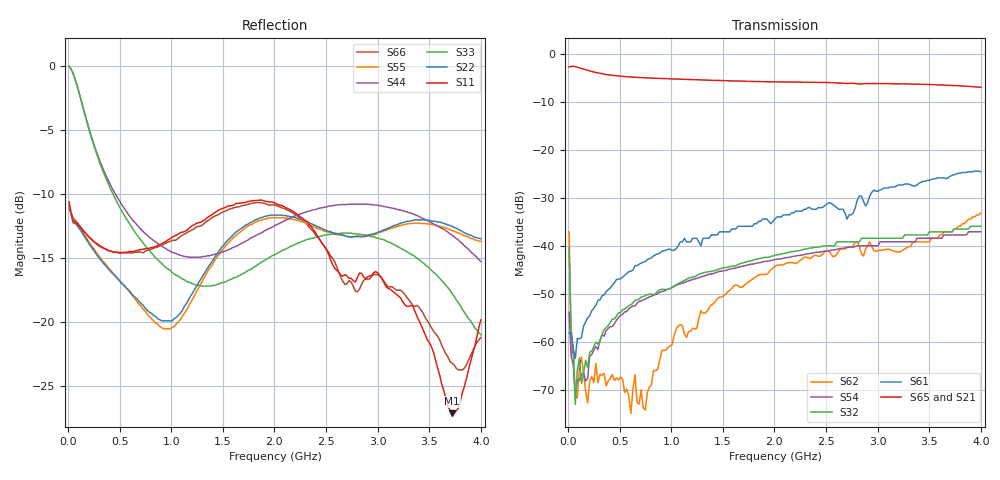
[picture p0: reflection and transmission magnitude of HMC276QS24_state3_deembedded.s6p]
! Hittite Microwave Corporation
! 20 Alpha Road
! Chelmsford, MA 01824
! Tel: 978-250-3343
! Fax: 978-250-3373
! Device: HMC276QS24, 0.7-3.0 GHz, GaAS MMIC 4x2 Switch Matrix in 24-lead QSOP package
! Misc: Data was de-embedded to package pins.
!  Port 1 = OP1
!  Port 2 = VL
!  Port 3 = VH
!  Port 4 = HH
!  Port 5 = HL
!  Port 6 = OP2
!  Vdd = +5 V
!  Vctl = 0 V[Logic 0] / +5 V[Logic 1]
!  State 03,  VL to OP1,  HL to OP2
!  Control Lines (Logic)
!  HV 1 = 0, Tone 1 = 0
!  HV 2 = 1, Tone 2 = 0
!  Data reformated to new Touchstone file format - Wed Jan 10 14:24:32 2007
# MHz S DB R 50
! 6 Port Network Data
! freq  dbS11  angS11  dbS12  angS12  dbS13  angS13  dbS14  angS14
!  dbS15  angS15  dbS16  angS16
!  dbS21  angS21  dbS22  angS22
!  dbS23  angS23  dbS24  angS24  dbS25  angS25  dbS26  angS26
!  dbS31  angS31  dbS32  angS32  dbS33  angS33  dbS34  angS34
!  dbS35  angS35  dbS36  angS36
!  dbS41  angS41  dbS42  angS42
!  dbS43  angS43  dbS44  angS44  dbS45  angS45  dbS46  angS46
!  dbS51  angS51  dbS52  angS52  dbS53  angS53  dbS54  angS54
!  dbS55  angS55  dbS56  angS56
!  dbS61  angS61  dbS62  angS62
!  dbS63  angS63  dbS64  angS64  dbS65  angS65  dbS66  angS66
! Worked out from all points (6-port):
!   201 points, 10 MHz to 4 GHz, reference 50 ohm
!   strongest paths, dB at 10 MHz, 1.008 GHz, 2.005 GHz, 3.002 GHz, 4 GHz:
!     S65: -2.8, -5.3, -5.9, -6.2, -7.0
!     S21: -2.9, -5.3, -5.9, -6.3, -7.1
!     S61: -58.1, -40.9, -34.4, -28.6, -24.6
!     S32: -40.5, -48.7, -41.9, -38.4, -35.9
!     S54: -53.8, -48.6, -42.9, -40.0, -37.1
!     S62: -37.1, -60.6, -44.2, -41.0, -33.2
!   lowest |S11| = -27.1 dB at 3.721 GHz (marker M1), VSWR 1.09, Z = 48.9 + j4.22 ohm
!   |S11| at or under -10 dB: start of sweep to end of sweep
